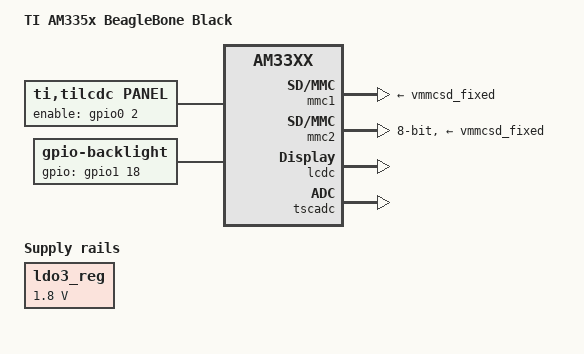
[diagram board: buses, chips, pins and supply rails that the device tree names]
/*
 * Copyright (C) 2015 Jumpnow Technologies, LLC - http://jumpnowtek.com
 *
 * This program is free software; you can redistribute it and/or modify
 * it under the terms of the GNU General Public License version 2 as
 * published by the Free Software Foundation.
 */

/dts-v1/;

#include "am33xx.dtsi"
#include "am335x-bone-common.dtsi"
#include "bbb-i2c1.dtsi"
#include "bbb-i2c2.dtsi"
#include "bbb-uart4.dtsi"

/* The 4dcape DOWN button gpio3[16] conflicts with SPI1.d0
   You can choose either the keypad.dtsi or the spi1-spidev dtsi,
   but not both unless you comment out the 'DOWN' key defs in
   bbb-4dcape70t-keypad.dtsi.
*/
#include "bbb-4dcape70t-keypad.dtsi"

/ {
	model = "TI AM335x BeagleBone Black";
	compatible = "ti,am335x-bone-black", "ti,am33xx";
};

&ldo3_reg {
	regulator-min-microvolt = <1800000>;
	regulator-max-microvolt = <1800000>;
	regulator-always-on;
};

&mmc1 {
	vmmc-supply = <&vmmcsd_fixed>;
};

&mmc2 {
	vmmc-supply = <&vmmcsd_fixed>;
	pinctrl-names = "default";
	pinctrl-0 = <&emmc_pins>;
	bus-width = <8>;
	status = "okay";
};

&am33xx_pinmux {
	lcd_pins: lcd_pins {
		pinctrl-single,pins = <
			AM33XX_IOPAD(0x8a0, PIN_OUTPUT | MUX_MODE0)            /* lcd_data0 */
			AM33XX_IOPAD(0x8a4, PIN_OUTPUT | MUX_MODE0)            /* lcd_data1 */
			AM33XX_IOPAD(0x8a8, PIN_OUTPUT | MUX_MODE0)            /* lcd_data2 */
			AM33XX_IOPAD(0x8ac, PIN_OUTPUT | MUX_MODE0)            /* lcd_data3 */
			AM33XX_IOPAD(0x8b0, PIN_OUTPUT | MUX_MODE0)            /* lcd_data4 */
			AM33XX_IOPAD(0x8b4, PIN_OUTPUT | MUX_MODE0)            /* lcd_data5 */
			AM33XX_IOPAD(0x8b8, PIN_OUTPUT | MUX_MODE0)            /* lcd_data6 */
			AM33XX_IOPAD(0x8bc, PIN_OUTPUT | MUX_MODE0)            /* lcd_data7 */
			AM33XX_IOPAD(0x8c0, PIN_OUTPUT | MUX_MODE0)            /* lcd_data8 */
			AM33XX_IOPAD(0x8c4, PIN_OUTPUT | MUX_MODE0)            /* lcd_data9 */
			AM33XX_IOPAD(0x8c8, PIN_OUTPUT | MUX_MODE0)            /* lcd_data10 */
			AM33XX_IOPAD(0x8cc, PIN_OUTPUT | MUX_MODE0)            /* lcd_data11 */
			AM33XX_IOPAD(0x8d0, PIN_OUTPUT | MUX_MODE0)            /* lcd_data12 */
			AM33XX_IOPAD(0x8d4, PIN_OUTPUT | MUX_MODE0)            /* lcd_data13 */
			AM33XX_IOPAD(0x8d8, PIN_OUTPUT | MUX_MODE0)            /* lcd_data14 */
			AM33XX_IOPAD(0x8dc, PIN_OUTPUT | MUX_MODE0)            /* lcd_data15 */
			AM33XX_IOPAD(0x8e0, PIN_OUTPUT_PULLDOWN | MUX_MODE0)   /* lcd_vsync */
			AM33XX_IOPAD(0x8e4, PIN_OUTPUT_PULLDOWN | MUX_MODE0)   /* lcd_hsync */
			AM33XX_IOPAD(0x8e8, PIN_OUTPUT_PULLDOWN | MUX_MODE0)   /* lcd_pclk */
			AM33XX_IOPAD(0x8ec, PIN_OUTPUT_PULLDOWN | MUX_MODE0)   /* lcd_ac_bias_en */
			/* LCD enable */
			AM33XX_IOPAD(0x950, PIN_OUTPUT_PULLUP | MUX_MODE7)     /* P9.22, gpio0_2 */
		>;
	};

	backlight_pin: backlight_pin {
		pinctrl-single,pins = < AM33XX_IOPAD(0x848, PIN_OUTPUT_PULLUP | MUX_MODE7) >; /* P9.14, gpio1[18] */
	};
};

&lcdc {
	status = "okay";
};

/ {
	lcd0: display {
		status = "okay";
		compatible = "ti,tilcdc,panel";
		label = "lcd";
		pinctrl-names = "default";
		pinctrl-0 = <&lcd_pins>;
		enable-gpios = <&gpio0 2 GPIO_ACTIVE_HIGH>;

		panel-info {
			ac-bias           = <255>;
			ac-bias-intrpt    = <0>;
			dma-burst-sz      = <16>;
			bpp               = <16>;
			fdd               = <0x80>;
			sync-edge         = <0>;
			sync-ctrl         = <1>;
			raster-order      = <0>;
			fifo-th           = <0>;
		};

		display-timings {
			native-mode = <&timing0>;
			timing0: 800x480 {
				clock-frequency = <30000000>;
				hactive = <800>;
				vactive = <480>;
				hfront-porch = <40>;
				hback-porch = <40>;
				hsync-len = <48>;
				vback-porch = <30>;
				vfront-porch = <13>;
				vsync-len = <3>;
				hsync-active = <0>;
				vsync-active = <0>;
				de-active = <1>;
				pixelclk-active = <0>;
			};
		};
	};

	backlight {
		status = "okay";
		compatible = "gpio-backlight";
		pinctrl-names = "default";
		pinctrl-0 = <&backlight_pin>;
		gpios = <&gpio1 18 GPIO_ACTIVE_HIGH>; /* P9.14 */
		default-on;
	};
};

&tscadc {
	status = "okay";

	tsc {
		ti,wires = <4>;
		ti,x-plate-resistance = <200>;
		ti,coordinate-readouts = <5>;
		ti,wire-config = <0x00 0x11 0x22 0x33>;
		ti,charge-delay = <0x1000>;
	};

	adc {
		ti,adc-channels = <4 5 6 7>;
	};
};

&rtc {
	system-power-controller;
};
